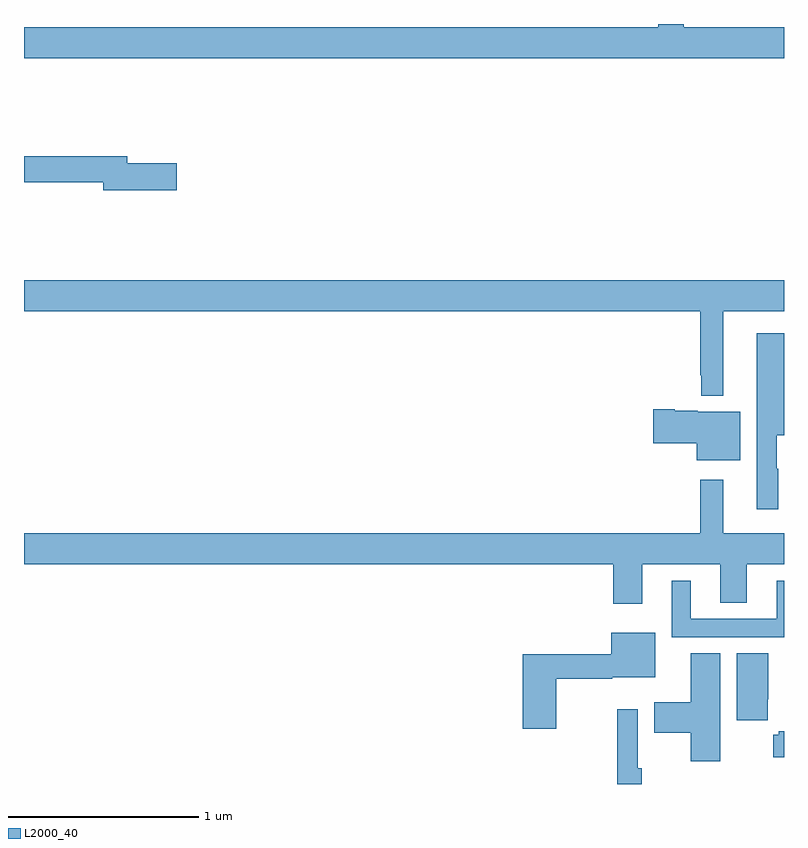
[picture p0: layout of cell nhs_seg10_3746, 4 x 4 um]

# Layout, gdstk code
import gdstk
lib = gdstk.Library(unit=1e-6, precision=1e-09)
def P(c, l, *ps):  # polygons
    for p in ps: c.add(gdstk.Polygon(p, *l))
L2000_40 = (2000, 40)

nhs_seg10_3746 = lib.new_cell('nhs_seg10_3746')
P(nhs_seg10_3746, L2000_40, [(319,1296.484),(318.473,1296.484),(318.473,1296.5),(318.337,1296.5),(318.337,1296.484),(315,1296.484),(315,1296.32),(319,1296.32)],
  [(315.805,1295.768),(315.544,1295.768),(315.544,1295.804),(315,1295.804),(315,1295.668),(315.416,1295.668),(315.416,1295.626),(315.805,1295.626)],
  [(318.679,1294.988),(319,1294.988),(319,1295.152),(315,1295.152),(315,1294.988),(318.558,1294.988),(318.558,1294.651),(318.565,1294.651),(318.565,1294.544),(318.679,1294.544)],
  [(318.971,1294.158),(318.961,1294.158),(318.961,1294.336),(319,1294.336),(319,1294.873),(318.857,1294.873),(318.857,1293.945),(318.971,1293.945)],
  [(318.769,1294.459),(318.546,1294.459),(318.546,1294.465),(318.424,1294.465),(318.424,1294.472),(318.312,1294.472),(318.312,1294.294),(318.542,1294.294),(318.542,1294.205),(318.769,1294.205)],
  [(318.253,1293.656),(318.665,1293.656),(318.665,1293.454),(318.805,1293.454),(318.805,1293.656),(319,1293.656),(319,1293.82),(318.679,1293.82),(318.679,1294.102),(318.558,1294.102),(318.558,1293.82),(315,1293.82),(315,1293.656),(318.101,1293.656),(318.101,1293.45),(318.253,1293.45)],
  [(319,1293.571),(318.962,1293.571),(318.962,1293.369),(318.508,1293.369),(318.508,1293.571),(318.41,1293.571),(318.41,1293.273),(319,1293.273)],
  [(317.802,1293.055),(318.096,1293.055),(318.096,1293.062),(318.322,1293.062),(318.322,1293.295),(318.092,1293.295),(318.092,1293.184),(317.624,1293.184),(317.624,1292.79),(317.802,1292.79)],
  [(318.914,1292.947),(318.916,1292.947),(318.916,1293.188),(318.752,1293.188),(318.752,1292.835),(318.914,1292.835)],
  [(318.664,1293.188),(318.509,1293.188),(318.509,1292.929),(318.316,1292.929),(318.316,1292.771),(318.509,1292.771),(318.509,1292.619),(318.664,1292.619)],
  [(318.251,1292.584),(318.231,1292.584),(318.231,1292.893),(318.123,1292.893),(318.123,1292.5),(318.251,1292.5)],
  [(319,1292.778),(318.972,1292.778),(318.972,1292.759),(318.943,1292.759),(318.943,1292.642),(319,1292.642)])

lib.write_gds('nhs_seg10_3746.gds')
